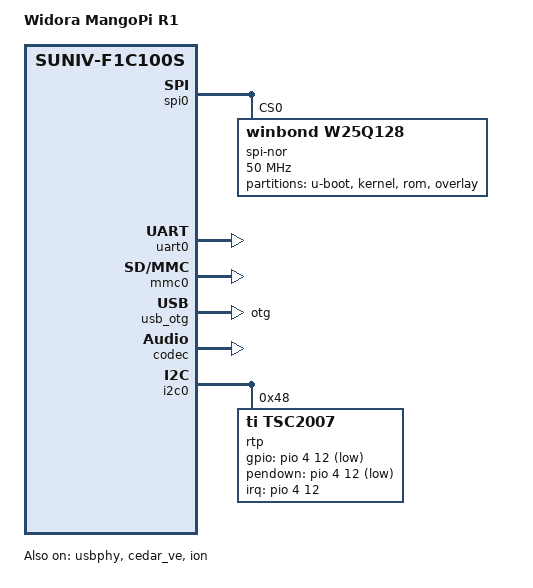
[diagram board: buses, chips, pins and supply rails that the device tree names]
// SPDX-License-Identifier: (GPL-2.0+ OR X11)

/dts-v1/;
#include "suniv-f1c100s.dtsi"

/ {
	model = "Widora MangoPi R1";
	compatible = "allwinner,suniv-f1c200s",
			 "allwinner,suniv-f1c100s";

	chosen {
		#address-cells = <1>;
		#size-cells = <1>;
		ranges;

		bootargs = "console=ttyS0,115200 rootwait init=/preinit root=/dev/mtdblock2 rootfstype=squashfs overlayfsdev=/dev/mtdblock3";

		simplefb_lcd: framebuffer-lcd0 {
			compatible = "allwinner,simple-framebuffer",
				     "simple-framebuffer";
			allwinner,pipeline = "de_be0-lcd0";
			clocks = <&ccu CLK_BUS_DE_BE>, <&ccu CLK_DE_BE>,
				 <&ccu CLK_DRAM_DE_BE>, <&ccu CLK_BUS_LCD>,
				 <&ccu CLK_TCON>;
			status = "disabled";
		};
	};

	// panel: panel {
	// 	compatible = "qiaodian,qd43003c0-40", "simple-panel";
	// 	#address-cells = <1>;
	// 	#size-cells = <0>;

	// 	port@0 {
	// 		reg = <0>;
	// 		#address-cells = <1>;
	// 		#size-cells = <0>;

	// 		panel_input: endpoint@0 {
	// 			reg = <0>;
	// 			remote-endpoint = <&tcon0_out_lcd>;
	// 		};
	// 	};
	// };
};

&spi0 {
	status = "okay";

	spi-nor@0 {
		#address-cells = <1>;
		#size-cells = <1>;
		compatible = "winbond,w25q128", "jedec,spi-nor";
		reg = <0>;
		spi-max-frequency = <50000000>;

		partitions {
			compatible = "fixed-partitions";
			#address-cells = <1>;
			#size-cells = <1>;

			partition@0 {
				label = "u-boot";
				reg = <0x000000 0x70000>;
				read-only;
			};

			partition@1 {
				label = "kernel";
				reg = <0x70000 0x590000>;
				read-only;
			};

			partition@2 {
				label = "rom";
				reg = <0x600000 0x700000>;
				read-only;
			};

			partition@3 {
				label = "overlay";
				reg = <0xd00000 0x300000>;
			};
		};
	};

	spi-nand@0 {
		#address-cells = <1>;
		#size-cells = <1>;
		compatible = "spi-nand";
		reg = <0>;
		spi-max-frequency = <50000000>;
		status = "disabled";

		partitions {
			compatible = "fixed-partitions";
			#address-cells = <1>;
			#size-cells = <1>;

			partition@0 {
				label = "u-boot";
				reg = <0x000000 0x100000>;
				read-only;
			};

			partition@1 {
				label = "kernel";
				reg = <0x100000 0x500000>;
				read-only;
			};

			partition@2 {
				label = "rom";
				reg = <0x600000 0x2a00000>;
				read-only;
			};

			partition@3 {
				label = "vendor";
				reg = <0x3000000 0x1000000>;
			};

			partition@4 {
				label = "overlay";
				reg = <0x4000000 0x3000000>;
			};
		};
	};
};

&uart0 {
	pinctrl-names = "default";
	pinctrl-0 = <&uart0_pe_pins>;
	status = "okay";
};

&mmc0 {
	status = "okay";
	broken-cd;
};

&otg_sram {
	status = "okay";
};

&usb_otg {
	dr_mode = "otg"; /* otg host peripheral */
	status = "okay";
};

&usbphy {
	usb0_id_det-gpio = <&pio 4 2 GPIO_ACTIVE_HIGH>; /* PE2 */
	status = "okay";
};

&cedar_ve {
	status = "okay";
};

&ion {
	status = "okay";
};

// &de {
// 	status = "okay";
// };

// &fe0 {
// 	status = "okay";
// };

// &be0 {
// 	status = "okay";
// };

// &tve0 {
// 	status = "okay";
// };

// &tcon0 {
// 	pinctrl-names = "default";
// 	pinctrl-0 = <&lcd_rgb565_pins>;
// 	status = "okay";
// };

// &tcon0_out {
// 	tcon0_out_lcd: endpoint@0 {
// 		reg = <0>;
// 		remote-endpoint = <&panel_input>;
// 	};
// };

&codec {
	allwinner,audio-routing =
		"Headphone", "HP",
		"Headphone", "HPCOM",
		"LINEIN", "Line In",
		"FMINL", "Left FM In",
		"FMINR", "Right FM In",
		"MIC", "Mic";
	status = "okay";
};

&i2c0 {
	pinctrl-names = "default";
	pinctrl-0 = <&i2c0_pd_pins>;
	status = "okay";

	rtp@48 {
		compatible = "ti,tsc2007";
		reg = <0x48>;
		interrupt-parent = <&pio>;
		interrupts = <4 12 IRQ_TYPE_EDGE_FALLING>;
		gpios = <&pio 4 12 GPIO_ACTIVE_LOW>;
		pendown-gpio = <&pio 4 12 GPIO_ACTIVE_LOW>;
		ti,x-plate-ohms = <660>;
		wakeup-source;
	};

	ctp@5d {
		compatible = "goodix,gt911";
		reg = <0x5d>;
		interrupt-parent = <&pio>;
		interrupts = <4 12 IRQ_TYPE_EDGE_FALLING>; // PE12
		irq-gpios = <&pio 4 12 GPIO_ACTIVE_HIGH>; // PE12
		reset-gpios = <&pio 0 0 GPIO_ACTIVE_HIGH>; // PA0
		status = "disabled";
	};
};
